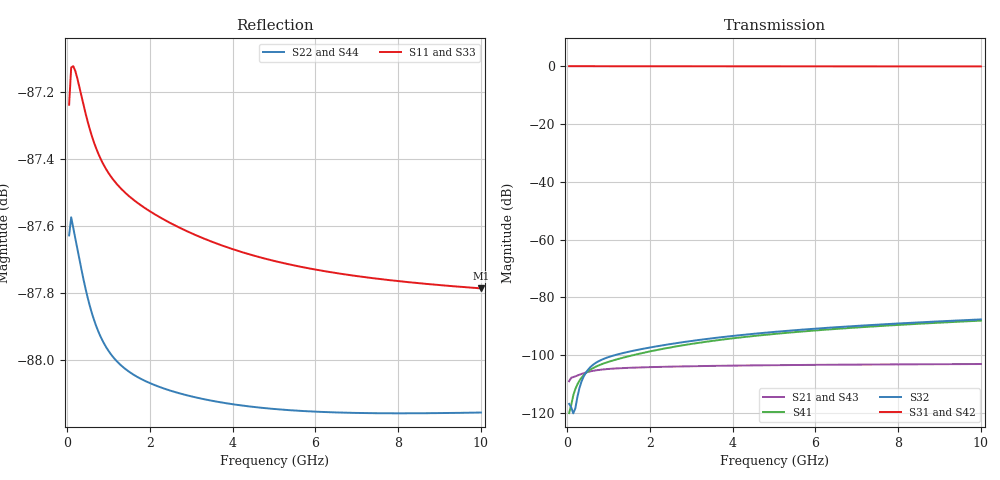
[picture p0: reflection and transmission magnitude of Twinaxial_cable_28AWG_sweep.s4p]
! Touchstone file exported from HFSS 2025.2.0
!  File:  d:/HCX/HFSS/em-copilot/runs/twinaxial-demo-001/Twinaxial_cable_COPY.aedt
!  Generated:  10:32:33 AM Sep 21, 2026
!  Design:  Twinaxial_cable_28AWG
!  Project:  Twinaxial_cable_COPY
! Variables:
!  $losstan = 0
!  D = 0.000621262400278658
!  DrainOffset = 16mil
!  DrainRadius = 5.63mil
!  ModelLength = 2mil
!  PERadius = 17.25mil
!  PlatingThickness = 1.524um
!  RibWidth = 27mil
!  SigRadius = 6.3mil
!  Spacing = 37mil
!  abc = 20deg
!  theta0 = 61.6355816127966deg
!  theta1 = 40.8553762588957deg
# GHz S MA R 50.000000
! Terminal data exported
! Port[1] = D1
! Port[2] = C1
! Port[3] = D2
! Port[4] = C2
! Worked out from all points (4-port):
!   200 points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, 50 MHz to 10 GHz, reference 50 ohm
!   strongest paths, dB at 50 MHz, 2.55 GHz, 5.05 GHz, 7.55 GHz, 10 GHz:
!     S31: 0.0, 0.0, -0.1, -0.1, -0.1
!     S42: 0.0, 0.0, -0.1, -0.1, -0.1
!     S32: -116.9, -96.1, -91.9, -89.4, -87.7
!     S41: -120.1, -97.2, -92.6, -89.9, -88.1
!     S21: -109.1, -104.0, -103.5, -103.3, -103.1
!     S43: -109.1, -104.0, -103.6, -103.3, -103.2
!   lowest |S11| = -87.8 dB at 10 GHz (marker M1), VSWR 1.00, Z = 50 + j0.00233 ohm
!   |S11| at or under -10 dB: start of sweep to end of sweep
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0.05  4.345e-05 179.9  3.526e-06 -162.7  0.9994 -2.0  9.92e-07 -10.7
      3.525e-06 -162.7  4.155e-05 178.8  1.431e-06 -143.8  0.9994 -2.0
      0.9994 -2.0  1.432e-06 -143.8  4.345e-05 -0.1  3.524e-06 17.2
      9.922e-07 -10.7  0.9994 -2.0  3.524e-06 17.2  4.153e-05 -1.2
2.3  4.179e-05 87.9  6.261e-06 100.3  0.9952 -89.9  1.276e-05 166.7
     6.261e-06 100.3  3.943e-05 88.7  1.471e-05 152.0  0.9949 -89.5
     0.9952 -89.9  1.471e-05 152.0  4.147e-05 -90.9  6.3e-06 -82.2
     1.276e-05 166.7  0.9949 -89.5  6.3e-06 -82.2  3.912e-05 -89.9
4.6  4.125e-05 -2.6  6.644e-06 9.9  0.993 -179.6  2.172e-05 74.8
     6.644e-06 9.9  3.917e-05 -1.2  2.369e-05 65.5  0.9927 -178.8
     0.993 -179.6  2.369e-05 65.5  4.075e-05 -179.7  6.598e-06 -174.1
     2.172e-05 74.8  0.9927 -178.8  6.598e-06 -174.1  3.869e-05 -178.1
6  4.107e-05 -57.6  6.775e-06 -44.6  0.9919 125.8  2.668e-05 19.5
   6.775e-06 -44.6  3.911e-05 -56.0  2.866e-05 11.7  0.9916 126.8
   0.9919 125.8  2.866e-05 11.7  4.046e-05 126.3  6.716e-06 130.3
   2.668e-05 19.5  0.9916 126.8  6.716e-06 130.3  3.853e-05 128.3
7.1  4.097e-05 -100.8  6.851e-06 -87.3  0.9911 82.9  3.035e-05 -23.6
     6.851e-06 -87.3  3.909e-05 -99.0  3.232e-05 -30.6  0.9907 84.1
     0.9911 82.9  3.232e-05 -30.6  4.029e-05 83.9  6.786e-06 86.6
     3.035e-05 -23.6  0.9907 84.1  6.786e-06 86.6  3.845e-05 86.1
8.65  4.087e-05 -161.7  6.937e-06 -147.4  0.9901 22.5  3.53e-05 -84.2
      6.937e-06 -147.4  3.909e-05 -159.7  3.725e-05 -90.3  0.9897 23.9
      0.9901 22.5  3.725e-05 -90.3  4.009e-05 24.1  6.862e-06 25.3
      3.53e-05 -84.2  0.9897 23.9  6.862e-06 25.3  3.836e-05 26.7
10  4.08e-05 145.2  6.998e-06 160.3  0.9893 -30.1  3.946e-05 -136.8
    6.998e-06 160.3  3.91e-05 147.4  4.141e-05 -142.3  0.9888 -28.5
    0.9893 -30.1  4.141e-05 -142.3  3.995e-05 -27.9  6.916e-06 -28.1
    3.946e-05 -136.8  0.9888 -28.5  6.916e-06 -28.1  3.83e-05 -25.1
